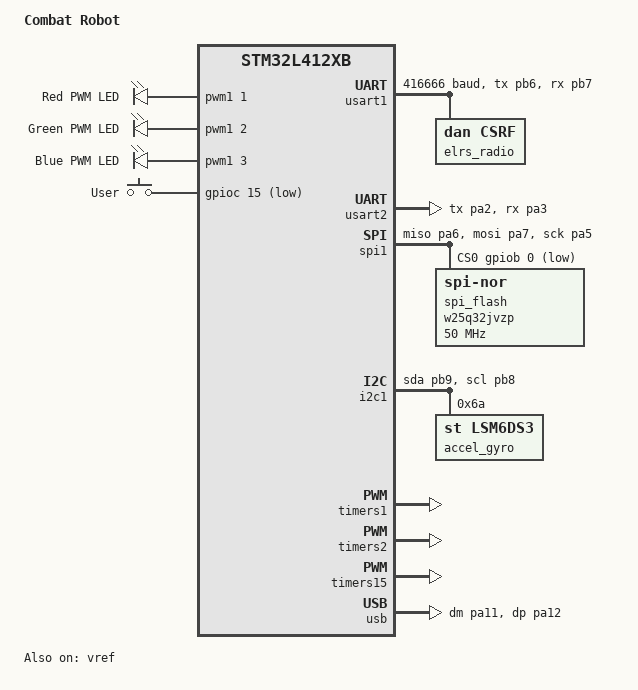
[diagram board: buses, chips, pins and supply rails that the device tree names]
/*
 * Copyright (c) 2024 Dan Collins
 */

/dts-v1/;
#include <st/l4/stm32l412XB.dtsi>
#include <st/l4/stm32l412cbtx-pinctrl.dtsi>
#include <zephyr/dt-bindings/input/input-event-codes.h>

/ {
	model = "Combat Robot";
	compatible = "dancollins,combat_robot";

	chosen {
		zephyr,console = &cdc_acm_uart0;
		zephyr,shell-uart = &cdc_acm_uart0;
		zephyr,sram = &sram0;
		zephyr,flash = &flash0;

		combat,esc-uart = &usart2;
	};

	rgb-led {
		compatible = "pwm-leds";

		red_led_pwm: led_pwm_0 {
			pwms = <&pwm1 1 PWM_MSEC(20) PWM_POLARITY_INVERTED>;
			label = "Red PWM LED";
		};

		green_led_pwm: led_pwm_1 {
			pwms = <&pwm1 2 PWM_MSEC(20) PWM_POLARITY_INVERTED>;
			label = "Green PWM LED";
		};

		blue_led_pwm: led_pwm_2 {
			pwms = <&pwm1 3 PWM_MSEC(20) PWM_POLARITY_INVERTED>;
			label = "Blue PWM LED";
		};
	};

	gpio_keys {
		compatible = "gpio-keys";
		user_button: button {
			label = "User";
			gpios = <&gpioc 15 GPIO_ACTIVE_LOW>;
			zephyr,code = <INPUT_KEY_0>;
		};
	};
};

&usart1 {
	status = "okay";

	current-speed = <416666>;

	elrs_radio: elrs_radio {
		compatible = "dan,csrf";
	};

	pinctrl-0 = <&usart1_tx_pb6 &usart1_rx_pb7>;
	pinctrl-names = "default";
};

&usart2 {
	status = "okay";

	pinctrl-0 = <&usart2_tx_pa2 &usart2_rx_pa3>;
	pinctrl-names = "default";
};

&spi1 {
	status = "okay";

	cs-gpios = <&gpiob 0 GPIO_ACTIVE_LOW>;

	pinctrl-0 = <&spi1_miso_pa6 &spi1_mosi_pa7 &spi1_sck_pa5>;
	pinctrl-names = "default";

	spi_flash: w25q32jvzp@0 {
		compatible = "jedec,spi-nor";
		status = "okay";
		reg = < 0 >;
		spi-max-frequency = < DT_FREQ_M(50) >;
		size = < 0x2000000 >; /* 32 Mbit */
		jedec-id = [ ef 40 16 ];

		has-dpd;
		t-enter-dpd = < 3000 >;
		t-exit-dpd = < 30000 >;
	};
};

&i2c1 {
	status = "okay";

	pinctrl-0 = <&i2c1_sda_pb9 &i2c1_scl_pb8>;
	pinctrl-names = "default";

	accel_gyro: lsm6ds3@6a {
		compatible = "st,lsm6ds3";
		reg = <0x6a>;
	};
};

&timers1 {
	status = "okay";
	st,prescaler = <10000>;

	/* RGB LEDs. */
	pwm1: pwm {
		status = "okay";
		pinctrl-0 = <&tim1_ch1_pa8 &tim1_ch2_pa9 &tim1_ch3_pa10>;
		pinctrl-names = "default";
	};
};

&timers2 {
	status = "okay";
	st,prescaler = <10000>;

	/* DC motor drivers. */
	pwm2: pwm {
		status = "okay";
		pinctrl-0 = <&tim2_ch1_pa15 &tim2_ch2_pb3 &tim2_ch3_pb10 &tim2_ch4_pb11>;
		pinctrl-names = "default";
	};
};

&timers15 {
	status = "okay";
	st,prescaler = <10000>;

	/* ESC. */
	pwm15: pwm {
		status = "okay";
		pinctrl-0 = <&tim15_ch1_pb14>;
		pinctrl-names = "default";
	};
};

zephyr_udc0: &usb {
	pinctrl-0 = <&usb_dm_pa11 &usb_dp_pa12>;
	pinctrl-names = "default";
	status = "okay";

	cdc_acm_uart0: cdc_acm_uart0 {
		compatible = "zephyr,cdc-acm-uart";
	};
};

&clk_lsi {
	status = "okay";
};

&clk_hsi {
	status = "okay";
};

&clk_hsi48 {
	status = "okay";
};

&pll {
	div-m = <1>;
	mul-n = <10>;
	div-q = <2>;
	div-r = <2>;
	clocks = <&clk_hsi>;
	status = "okay";
};

&rcc {
	clocks = <&pll>;
	clock-frequency = <DT_FREQ_M(80)>;
	ahb-prescaler = <1>;
	apb1-prescaler = <1>;
	apb2-prescaler = <1>;
};

&vref {
	status = "okay";
};
